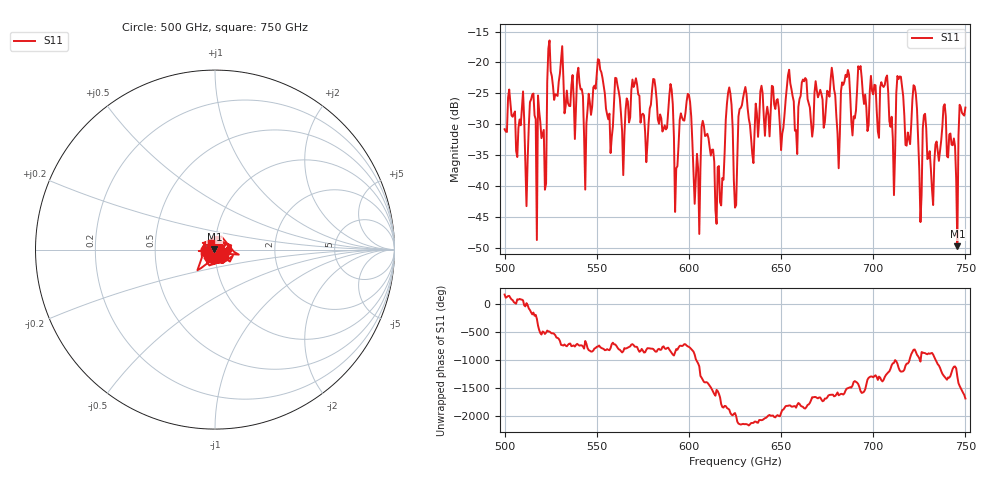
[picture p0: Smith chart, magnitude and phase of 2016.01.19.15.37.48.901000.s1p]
!Created with skrf (http://scikit-rf.org).
# GHz S RI R 50.0
!freq ReS11 ImS11
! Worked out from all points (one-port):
!   401 points, 500 GHz to 750 GHz, reference 50 ohm
!   lowest |S11| = -49.7 dB at 745.6 GHz (marker M1), VSWR 1.01, Z = 49.7 + j0.16 ohm
!   |S11| at or under -10 dB: start of sweep to end of sweep
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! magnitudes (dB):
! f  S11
! 500 GHz  -30.8
! 511.9 GHz  -43.3
! 515 GHz  -25.2
! 521.2 GHz  -30.9
! 524.4 GHz  -16.4
! 531.2 GHz  -17.4
! 562.5 GHz  -25.8
! 590 GHz  -23.5
! 593.8 GHz  -36.8
! 600 GHz  -25.2
! 604.4 GHz  -34.8
! 608.1 GHz  -30.2
! 616.2 GHz  -36.8
! 621.9 GHz  -24.0
! 625 GHz  -43.5
! 630 GHz  -24.8
! 634.4 GHz  -34.8
! 656.2 GHz  -25.4
! 687.5 GHz  -25.4
! 706.2 GHz  -23.6
! 710.6 GHz  -32.2
! 714.4 GHz  -22.3
! 718.8 GHz  -31.3
! 722.5 GHz  -23.9
! 725.6 GHz  -45.8
! 738.1 GHz  -27.1
! 745.6 GHz  -49.7
! 750 GHz  -27.3
